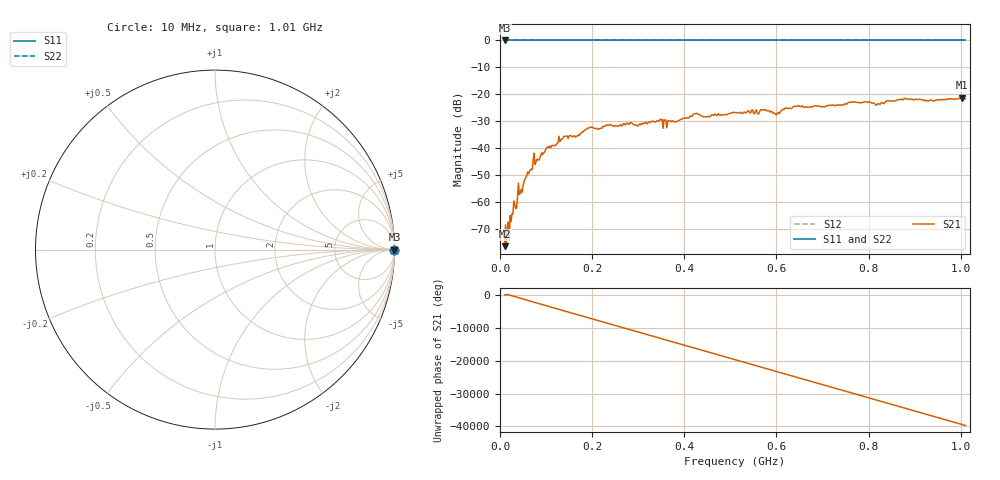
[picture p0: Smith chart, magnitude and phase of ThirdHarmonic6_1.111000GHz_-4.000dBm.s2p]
! 8/16/2025 10:34:02 AM
! C:\ANRITSUVNA\TEMP\TEMP.S2P
! CHANNEL.1
! TR.MEASUREMENT
! RAW.DATA
! RF.CORRECTION.OFF
! AVERAGING.OFF
! IF.BANDWIDTH: 5KHZ
! SWEEPTYPE:  FREQ.SWEEP(Linear)
! Reference Plane Port Info
! PORT:  PORT1  PORT2
! DISTANCE:  0  m  0  m
! TIME:  0  s  0  s
! PHASE.OFFSET:  0  deg.  0  deg.
! LOSS:  0  dB  0  dB
! REF.LOSS:  0  dB  0  dB
! REF.FREQ:  0  Hz  0  Hz
! Power Info
! POWER:  -20  dBm  -20  dBm
! EFF.POWER:  -20  dBm  -20  dBm
! SOURCE.ATTEN:  0  dB  0  dB
! TEST.ATTEN:  0  dB  0  dB
# GHZ S RI R 50.0
! FREQ.GHZ  S11RE  S11IM  S21RE  S21IM  S12RE  S12IM  S22RE  S22IM
!; PortSelection: Port_12
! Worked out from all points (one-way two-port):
!   501 points, 10 MHz to 1.01 GHz, reference 50 ohm
!   highest |S21| = -21.23 dB at 1.002 GHz (marker M1); lowest = -76.3 dB at 10 MHz (marker M2)
!   lowest |S11| = 0.0 dB at 10 MHz (marker M3)
!   |S11| at or under -10 dB: nowhere
!   |S22| runs from 0.0 to 0.0 dB; largest |S21 - S12| = 1.1
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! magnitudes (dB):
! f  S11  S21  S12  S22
! 10 MHz  0.0  -76.3  0.0  0.0
! 24 MHz  0.0  -67.2  0.0  0.0
! 26 MHz  0.0  -64.2  0.0  0.0
! 42 MHz  0.0  -57.2  0.0  0.0
! 46 MHz  0.0  -55.2  0.0  0.0
! 56 MHz  0.0  -50.9  0.0  0.0
! 76 MHz  0.0  -46.0  0.0  0.0
! 142 MHz  0.0  -35.5  0.0  0.0
! 178 MHz  0.0  -34.0  0.0  0.0
! 196 MHz  0.0  -32.2  0.0  0.0
! 344 MHz  0.0  -29.9  0.0  0.0
! 358 MHz  0.0  -29.6  0.0  0.0
! 424 MHz  0.0  -27.2  0.0  0.0
! 450 MHz  0.0  -28.3  0.0  0.0
! 510 MHz  0.0  -26.7  0.0  0.0
! 572 MHz  0.0  -25.8  0.0  0.0
! 602 MHz  0.0  -26.9  0.0  0.0
! 644 MHz  0.0  -24.5  0.0  0.0
! 678 MHz  0.0  -24.6  0.0  0.0
! 844 MHz  0.0  -22.4  0.0  0.0
! 1.002 GHz  0.0  -21.2  0.0  0.0
! 1.01 GHz  0.0  -21.7  0.0  0.0
